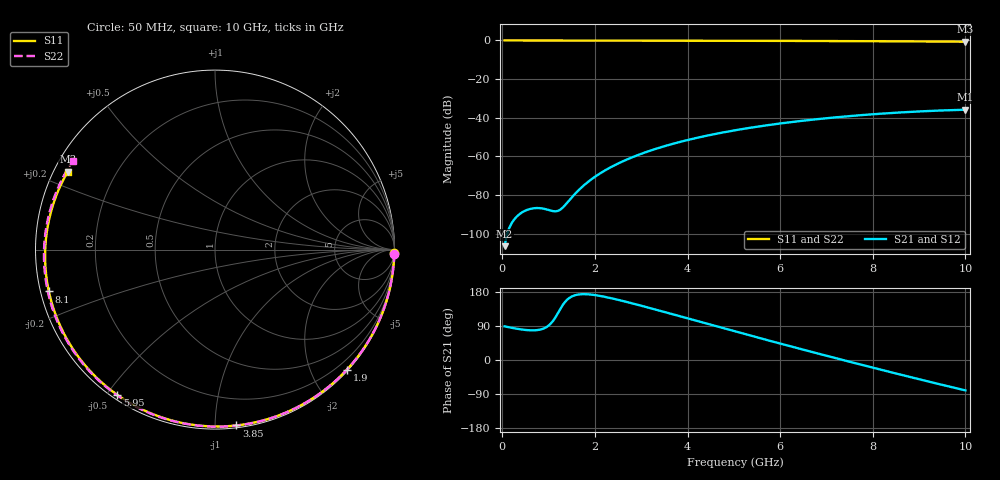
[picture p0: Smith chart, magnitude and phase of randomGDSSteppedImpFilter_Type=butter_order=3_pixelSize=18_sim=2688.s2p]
! freq	dB(S11)	phase(S11)	dB(S12)	phase(S12)
!  dB(S21)	phase(S21)	dB(S22)	phase(S22)
!S-par simulation data
#  GHz  S  DB  R 50
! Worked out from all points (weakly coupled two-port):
!   200 points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, 50 MHz to 10 GHz, reference 50 ohm
!   highest |S21| = -35.86 dB at 10 GHz (marker M1); lowest = -106.5 dB at 50 MHz (marker M2)
!   lowest |S11| = -0.6 dB at 10 GHz (marker M3), VSWR 26.96, Z = 1.97 + j12.4 ohm
!   |S11| at or under -10 dB: nowhere
!   |S22| runs from -0.6 to 0.0 dB; largest |S21 - S12| = 0
!   S11 on the Smith chart (normalised r, x): 50 MHz: open; 1.9 GHz: 0.02, -2.58; 3.85 GHz: 0.01, -1.13; 5.95 GHz: 0.02, -0.53; 8.1 GHz: 0.02, -0.12; 10 GHz: 0.04, +0.25
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0.05  -0.00 -1.1  -106.47 88.7  -106.47 88.7  -0.00 -1.3
0.75  -0.02 -16.9  -86.74 78.8  -86.74 78.8  -0.02 -19.1
1.15  -0.03 -25.9  -88.44 113.1  -88.44 113.1  -0.04 -29.1
1.55  -0.04 -34.7  -79.92 170.1  -79.92 170.1  -0.05 -39.0
1.75  -0.05 -39.1  -75.24 173.7  -75.24 173.7  -0.06 -43.9
1.9  -0.05 -42.3  -72.31 172.8  -72.31 172.8  -0.06 -47.5
2.2  -0.06 -48.8  -67.53 167.0  -67.53 167.0  -0.07 -54.6
2.55  -0.07 -56.3  -63.14 157.4  -63.14 157.4  -0.08 -62.8
2.95  -0.08 -64.7  -59.12 144.9  -59.12 144.9  -0.09 -71.9
3.4  -0.10 -74.0  -55.46 130.1  -55.46 130.1  -0.11 -81.9
3.85  -0.11 -83.1  -52.44 115.0  -52.44 115.0  -0.12 -91.6
4.45  -0.14 -95.0  -49.12 94.8  -49.12 94.8  -0.15 -104.1
5.05  -0.17 -106.7  -46.39 74.7  -46.39 74.7  -0.17 -116.2
5.95  -0.22 -124.0  -43.14 45.0  -43.14 45.0  -0.22 -133.6
6.7  -0.27 -138.3  -40.99 20.8  -40.99 20.8  -0.27 -147.9
7.4  -0.33 -151.9  -39.36 -1.4  -39.36 -1.4  -0.33 -161.0
8.1  -0.40 -165.9  -38.03 -23.3  -38.03 -23.3  -0.39 -174.2
8.35  -0.43 -171.0  -37.63 -31.0  -37.63 -31.0  -0.42 -179.0
8.8  -0.49 179.5  -36.99 -44.7  -36.99 -44.7  -0.46 172.3
9.2  -0.54 170.8  -36.52 -56.8  -36.52 -56.8  -0.51 164.3
9.6  -0.59 161.7  -36.14 -68.6  -36.14 -68.6  -0.55 156.3
10  -0.64 152.2  -35.86 -80.2  -35.86 -80.2  -0.60 148.0
